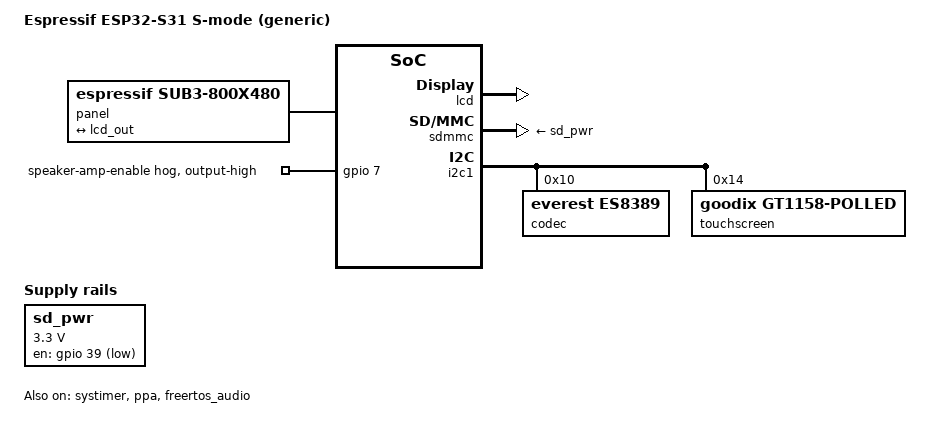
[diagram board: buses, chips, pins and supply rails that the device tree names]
// SPDX-License-Identifier: GPL-2.0+
/*
 * ESP32-S31 Device Tree Source
 */
/dts-v1/;
#include "esp32s31.dtsi"

/ {
	model = "Espressif ESP32-S31 S-mode (generic)";
	compatible = "espressif,esp32s31";

	chosen {
		stdout-path = "serial0:1000000n8";
	};
};

&systimer { status = "okay"; };

/*
 * ESP32-S31-Korvo-1: 800x480 RGB565 subboard on LCD_CAM.
 * Enabling this costs the USB Serial/JTAG debug port, because the panel's
 * R4/R5 lines are GPIO33/GPIO34, which double as its D-/D+ pads.
 */
&ppa {
	status = "okay";
};

&lcd {
	status = "okay";
};

/*
 * ESP32-S31-Korvo-1 microSD slot, 4-bit on GPIO20-25 (D0-D3, CLK, CMD).
 * Enabled in the base tree rather than through the sdmmc0 overlay because the
 * root filesystem lives on the card and must be mountable before userspace
 * could load an overlay. These pins are shared with the module's SPI NAND;
 * the board selects microSD by default.
 */
/*
 * The card's power switch, which nothing was driving.
 *
 * GPIO39 is BSP_SD_CTRL in Espressif's own board support - "active-low
 * power/switch control", asserted low - and until now Linux neither knew about
 * it nor drove it, so the pin floated low (permanently on) and the card could
 * never be power-cycled. That matters because esp_restart() resets the SoC and
 * not the card: a card interrupted mid-write holds DAT0 low, the first CMD0
 * times out against it, and nothing short of pulling the board's power clears
 * it. With a regulator here the MMC core cycles the card as part of normal
 * initialisation.
 *
 * Measured before wiring it: ENABLE1 bit 7 was 0, so the pad was not driven at
 * all, and toggling it does move the pin (GPIO_IN1 bit 7 follows). What is NOT
 * established is that a cycle here clears an already-wedged card - one attempt
 * with ~4 s off did not revive one. It should stop the state arising, which is
 * the more useful half.
 */
/ {
	sd_pwr: regulator-sd-vcc {
		compatible = "regulator-fixed";
		regulator-name = "sd-vcc";
		regulator-min-microvolt = <3300000>;
		regulator-max-microvolt = <3300000>;
		gpio = <&gpio 39 GPIO_ACTIVE_LOW>;
		/* No enable-active-high: the switch asserts LOW, per the BSP. */
		regulator-boot-on;
		/* SD spec wants the rail stable before the first command. */
		startup-delay-us = <20000>;
	};
};

&sdmmc {
	status = "okay";
	vmmc-supply = <&sd_pwr>;
};

/ {
	panel {
		compatible = "espressif,sub3-800x480";

		port {
			panel_in: endpoint {
				remote-endpoint = <&lcd_out>;
			};
		};
	};
};

/*
 * ESP32-S31-Korvo-1 shares one I2C bus on GPIO0/GPIO1 between the audio codec
 * and the touch controller. hart0's codec driver is configured for different
 * pins, so Linux can own this controller without contending for the bus.
 */
&i2c1 {
	status = "okay";

	/*
	 * ES8389 audio codec. Control lives here rather than on hart0 because
	 * only one peripheral can drive the shared GPIO0/GPIO1 pads and Linux
	 * also needs the bus for the touch controller. The I2S data path is
	 * Linux's too, through the i2s0 controller below.
	 */
	codec: audio-codec@10 {
		compatible = "everest,es8389";
		reg = <0x10>;
			/*
			 * Espressif's own BSP for this board has
			 * BSP_I2S_MCLK as GPIO_NUM_NC: there is no MCLK
			 * trace to the codec. 0 selects the SCLK pin, so
			 * the codec clocks itself from the bit clock.
			 */
			everest,mclk-src = /bits/ 8 <0>;
		#sound-dai-cells = <0>;
	};

	/*
	 * GT1158 touch controller, same bus as the codec. Neither INT nor
	 * RESET is wired on this board (Espressif's BSP agrees), so the
	 * polled driver is the only one that can drive it - and, probed
	 * 2026-08-31, the only thing it needs: the part scans from power-on
	 * and just wants its status register acknowledged every cycle.
	 */
	touchscreen: touchscreen@14 {
		compatible = "goodix,gt1158-polled";
		reg = <0x14>;
		touchscreen-size-x = <800>;
		touchscreen-size-y = <480>;
	};
};

/*
 * Linux owns the I2S controller and the codec pads, so the GDMA reads the ALSA
 * buffer in place and hart0 is out of the audio path entirely. That requires
 * the loader to be built with S31_AUDIO_ENABLE off: the codec's MCLK, BCLK, WS
 * and data pins can only be driven by one of the two controllers.
 */
/*
 * AUDIO LIVES ON HART0. The codec's MCLK, BCLK, WS and data pins can only be
 * driven by one controller, so this and freertos_audio are mutually exclusive
 * and always change together - along with S31_AUDIO_ENABLE in the loader's
 * sdkconfig, which must be ON to match.
 */
&i2s0 {
	status = "disabled";
};

&freertos_audio {
	status = "okay";
};

/*
 * Speaker amplifier enable on GPIO7. hart0 asserted this during its codec
 * bring-up and left it high; with audio moved across, Linux holds it the same
 * way. A hog rather than a DAPM widget because nothing needs to toggle it --
 * output muting is the codec's job.
 */
&gpio {
	speaker-amp-hog {
		gpio-hog;
		gpios = <7 0>;
		output-high;
		line-name = "speaker-amp-enable";
	};
};

/ {
	sound {
		compatible = "simple-audio-card";
		simple-audio-card,name = "ESP32-S31 Korvo-1";
		simple-audio-card,format = "i2s";
		/*
		 * No mclk-fs: this board has no MCLK line, so the codec
		 * clocks from BCLK and derives its own coefficients from
		 * the frame size. Claiming an MCLK would lie to it.
		 */

		/*
		 * The codec's INPUT1/INPUT2 are DAPM *input* endpoints, and
		 * DAPM leaves an endpoint disconnected unless the machine wires
		 * it to something. Without this the whole capture chain -
		 * PGAL/PGAR into ADCL/ADCR - stays powered down, the codec
		 * sends a constant sample forever, and a recording comes back
		 * as unvarying DC that looks like a working DMA carrying
		 * silence.
		 *
		 * The Korvo-1's mic array is analog on both inputs, which is
		 * also what the vendor BSP says: digital_mic = false.
		 */
		simple-audio-card,widgets = "Microphone", "Mic Array";
		simple-audio-card,routing =
			"INPUT1", "Mic Array",
			"INPUT2", "Mic Array";

		/*
		 * hart0 is the CPU side of the link: it owns I2S, the mixer,
		 * the ASRC lanes and the shared rings. Linux keeps the CODEC,
		 * because the ES8389 sits on an I2C bus Linux owns and only
		 * Linux has a driver for the part (the loader's audio core
		 * can drive an ES8311, which this board does not have). That
		 * split is what keeps the ALSA mixer controls - and so sink
		 * switching - on the Linux side where s31route expects them.
		 */
		simple-audio-card,cpu {
			sound-dai = <&freertos_audio>;
		};

		simple-audio-card,codec {
			sound-dai = <&codec>;
		};
	};
};
